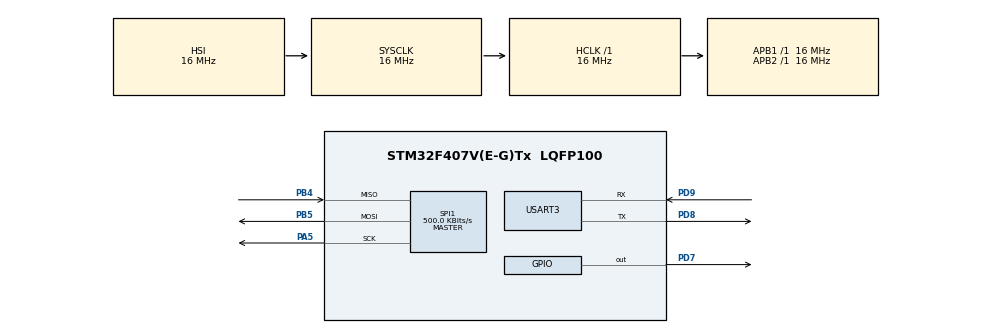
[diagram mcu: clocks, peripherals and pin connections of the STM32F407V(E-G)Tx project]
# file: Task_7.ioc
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Mcu.Family=STM32F4
Mcu.Name=STM32F407V(E-G)Tx
Mcu.Package=LQFP100
NVIC.PriorityGroup=NVIC_PRIORITYGROUP_4
NVIC.TIM3_IRQn=true\:0\:0\:false\:false\:true\:true\:true
PA5.Mode=Full_Duplex_Master
PA5.Signal=SPI1_SCK
PB4.Mode=Full_Duplex_Master
PB4.Signal=SPI1_MISO
PB5.Mode=Full_Duplex_Master
PB5.Signal=SPI1_MOSI
PD7.Signal=GPIO_Output
PD8.Mode=Asynchronous
PD8.Signal=USART3_TX
PD9.Mode=Asynchronous
PD9.Signal=USART3_RX
ProjectManager.HeapSize=0x200
ProjectManager.StackSize=0x400
ProjectManager.TargetToolchain=STM32CubeIDE
RCC.AHBFreq_Value=16000000
RCC.APB1Freq_Value=16000000
RCC.APB2Freq_Value=16000000
RCC.CortexFreq_Value=16000000
RCC.HSE_VALUE=25000000
RCC.HSI_VALUE=16000000
RCC.LSE_VALUE=32768
RCC.SYSCLKFreq_VALUE=16000000
RCC.VCOOutputFreq_Value=192000000
SPI1.BaudRatePrescaler=SPI_BAUDRATEPRESCALER_32
SPI1.CalculateBaudRate=500.0 KBits/s
SPI1.Direction=SPI_DIRECTION_2LINES
SPI1.Mode=SPI_MODE_MASTER
SPI1.VirtualType=VM_MASTER
TIM3.AutoReloadPreload=TIM_AUTORELOAD_PRELOAD_ENABLE
TIM3.Period=200
TIM3.Prescaler=16000
USART3.VirtualMode=VM_ASYNC
VP_TIM3_VS_ClockSourceINT.Mode=Internal
board=custom

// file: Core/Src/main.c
/* USER CODE BEGIN Header */
/**
  ******************************************************************************
  * @file           : main.c
  * @brief          : Main program body
  ******************************************************************************
  * @attention
  *
  * <h2><center>&copy; Copyright (c) 2021 STMicroelectronics.
  * All rights reserved.</center></h2>
  *
  * This software component is licensed by ST under BSD 3-Clause license,
  * the "License"; You may not use this file except in compliance with the
  * License. You may obtain a copy of the License at:
  *                        opensource.org/licenses/BSD-3-Clause
  *
  ******************************************************************************
  */
/* USER CODE END Header */
#include "main.h"

/* USER CODE BEGIN Includes */
#include <string.h>
#include <stdio.h>

/* USER CODE END Includes */

/* USER CODE BEGIN PTD */
typedef enum chipState
{
	CS_ON,
	CS_OFF

} chipState;

/* USER CODE END PTD */

/* USER CODE BEGIN PD */
#define CS_PIN 	 GPIOD, GPIO_PIN_7
#define SST25_PageSize 256

#define WRITE    0x02  /* Write one data byte to Memory instruction */
#define WREN 	 0x06  /* Write enable instruction */
#define WRDI	 0x04  /* Write disable instruction */
#define RDSR	 0x05  /* Read Status Register instruction  */
#define READ     0x03  /* 25Mhz Read from Memory instruction */
#define HREAD    0x0B  /* 50Mhz Read from Memory instruction */
#define WRSR     0x01  /* Write Status Register instruction */
#define CHER     0x60  /* Bulk Erase instruction */
#define EWSR	 0x50  /* Enable write status register */
#define D_BYTE   0xFF  /* Dummy byte */
#define EBSY	 0x70
#define DBSY	 0x80
#define AAI	 	 0xAD

#define MIN_ADDR 0x000000
#define MAX_ADDR 0x1FFFFF
#define SEC_INC  0x1000 /* 4096Bytes Sector increment   */
#define BUSY_BIT 0x01

#define STR_NUM  16
#define STR_LEN  96

/* USER CODE END PD */

SPI_HandleTypeDef hspi1;

TIM_HandleTypeDef htim3;

UART_HandleTypeDef huart3;

/* USER CODE BEGIN PV */
char rcvCommand = 0;
static uint8_t trnsmtBuf[2];
static uint8_t rcvBuf[2];

/* USER CODE END PV */

void SystemClock_Config(void);
static void MX_GPIO_Init(void);
static void MX_SPI1_Init(void);
static void MX_TIM3_Init(void);
static void MX_USART3_UART_Init(void);
/* USER CODE BEGIN PFP */
static void SST25Init(void);
static void SST25CSToggle(chipState state);
static void SST25RegSwitch(uint8_t trnsmtBuf);
static uint8_t SST25GetRdStatus(void);
static void SST25RdBuffer(uint32_t addr, uint8_t *buf, uint32_t nByte );
static void SST25WrBuffer(uint32_t dst, uint8_t *data, uint32_t nByte);
static void SST25WrPage(uint32_t dst, uint8_t *data, uint32_t nByte);
static void SST25WrStatusReg(void);
static void SST25EraseAll(void);

static void transmitUartMessage(char terminalMessage[128]);
static void receiveInfo(void);
static void writeText(void);
static void readText(void);
/* USER CODE END PFP */

/* USER CODE BEGIN 0 */

void HAL_TIM_PeriodElapsedCallback(TIM_HandleTypeDef *htim)
{
	if (htim == &htim3 )
	{
		HAL_StatusTypeDef result = HAL_UART_Receive(&huart3, (uint8_t*)&rcvCommand, 1, 10);

		if (result == HAL_OK)
		{
			receiveInfo();
			switch (rcvCommand)
			{
			case '1':
				readText();
				break;
			case '2':
				writeText();
				break;
			case '3':
				SST25EraseAll();
				break;
			default:
				HAL_UART_Transmit(&huart3, (uint8_t*) "Unrecognized key\r\n", 15 + 2, 10);
				break;
			}
		}
	}
}

static void transmitUartMessage(char terminalMessage[128])
{
	HAL_UART_Transmit(&huart3, (uint8_t*) terminalMessage,  strlen(terminalMessage), 10);
}

static void receiveInfo(void)
{
	uint8_t  eraseScreenArr[4] ={ 0x1B, 0x5B, 0x32, 0x4A };
	HAL_UART_Transmit(&huart3, (uint8_t*) &eraseScreenArr, 4, 10);

	transmitUartMessage("Read SST25VF016 SPI Flash Memory: 1 | Write text to SST25VF016 SPI Flash Memory: 2 | Erase SST25VF016 SPI Flash Memory: 3\r\n");
}

static void SST25Init(void)
{
	/* CS = HIGH */
	SST25CSToggle(CS_OFF);
	SST25WrStatusReg();
}

static void SST25CSToggle(chipState state)
{
	if(state == CS_ON)
		HAL_GPIO_WritePin(CS_PIN, GPIO_PIN_RESET);
	else if (state == CS_OFF)
		HAL_GPIO_WritePin(CS_PIN, GPIO_PIN_SET);
}

static void SST25RegSwitch(uint8_t trnsmtBuf)
{
	SST25CSToggle(CS_ON);
	HAL_SPI_Transmit(&hspi1, (uint8_t *) &trnsmtBuf, sizeof(trnsmtBuf), 100);
	SST25CSToggle(CS_OFF);
}

static uint8_t SST25GetRdStatus(void)
{
	trnsmtBuf[0] = RDSR;
	trnsmtBuf[1] = 0x00;

	SST25CSToggle(CS_ON);
	HAL_SPI_TransmitReceive(&hspi1, trnsmtBuf, rcvBuf, sizeof(rcvBuf), 100);
	SST25CSToggle(CS_OFF);

	return  rcvBuf[1];
}

static void SST25WrStatusReg(void)
{
	/* Disable write protection */
	trnsmtBuf[0] = WRSR;
	trnsmtBuf[1] = 0x00;

	SST25RegSwitch(EWSR);

	SST25CSToggle(CS_ON);
	HAL_SPI_Transmit(&hspi1, trnsmtBuf, sizeof(trnsmtBuf), 100);
	SST25CSToggle(CS_OFF);
}

static void SST25EraseAll(void)
{
	uint8_t cmdBuf = CHER;

	SST25WrStatusReg();
	SST25RegSwitch(WREN);
	SST25CSToggle(CS_ON);
	HAL_SPI_Transmit(&hspi1, (uint8_t*) &cmdBuf, sizeof(cmdBuf), 100);
	SST25CSToggle(CS_OFF);

	while(SST25GetRdStatus() & BUSY_BIT);
	SST25RegSwitch(WRDI);
}

static void SST25RdBuffer(uint32_t addr, uint8_t *buf, uint32_t nByte)
{
	if (addr + nByte > MAX_ADDR)
		return;

	uint8_t tmpBuf[nByte];
	uint8_t trnsmtRdBuf[] = { HREAD, ((addr  & 0xFF0000) >> 16), ((addr  & 0xFF00) >> 8), addr & 0xFF, D_BYTE };

	SST25CSToggle(CS_ON);
	HAL_SPI_Transmit(&hspi1, trnsmtRdBuf, sizeof(trnsmtRdBuf), 100);
	HAL_SPI_Receive(&hspi1, tmpBuf, sizeof(tmpBuf) , 100 );
	for (uint8_t i = 1; i < nByte; i++)
		buf[i] = 0;
	for ( uint32_t i = 1; tmpBuf[i] != 0xFF; i++ )
		buf[i] = tmpBuf[i];
	SST25CSToggle(CS_OFF);
}

static void SST25WrPage(uint32_t dst, uint8_t *data, uint32_t nByte)
{
	if (dst + nByte - 1 > MAX_ADDR || nByte > SST25_PageSize )
			return;

	SST25WrStatusReg();

	uint8_t *trnsmtBufPt;
	trnsmtBufPt = data;

	SST25RegSwitch(EBSY);
	SST25RegSwitch(WREN);

	SST25CSToggle(CS_ON);
	/* Transmit address and first two bytes of data */
	uint8_t trnsmtPgBuf[] = { AAI, ((dst  & 0xFF0000) >> 16), ((dst  & 0xFF00) >> 8), (dst & 0xFF), D_BYTE, *data,*data++ };
	HAL_SPI_Transmit(&hspi1, trnsmtPgBuf, sizeof(trnsmtPgBuf), 100);

	while(data < trnsmtBufPt + nByte)
	{
		/* Check for flash busy status */
		SST25CSToggle(CS_OFF);
		SST25CSToggle(CS_ON);
		while (!HAL_GPIO_ReadPin(GPIOB, GPIO_PIN_4));
		/* Transmit data using AAI */
		uint8_t trnsmtPgBuf[] = { AAI, *data++, *data++ };
		HAL_SPI_Transmit(&hspi1, trnsmtPgBuf, sizeof(trnsmtPgBuf), 100);
	}
	SST25CSToggle(CS_OFF);
	while (!HAL_GPIO_ReadPin(GPIOB, GPIO_PIN_4));

	SST25RegSwitch(WRDI);
	SST25RegSwitch(DBSY);
}

static void SST25WrBuffer(uint32_t dst, uint8_t *data, uint32_t nByte)
{
	if (dst + nByte - 1 > MAX_ADDR)
			return;

	SST25WrStatusReg();
	uint8_t *trnsmtBufPt = (uint8_t *)data;

	for ( uint32_t i = 0; i < nByte; i++ )
	{
		SST25RegSwitch(WREN);

		SST25CSToggle(CS_ON);
		uint8_t trnsmtWrBuf[] = { WRITE, (((dst + i) & 0xFF0000) >> 16), (((dst + i) & 0xFF00) >> 8), ((dst + i) & 0xFF), D_BYTE, trnsmtBufPt[i] };
		HAL_SPI_Transmit(&hspi1, trnsmtWrBuf, sizeof(trnsmtWrBuf), 100);
		SST25CSToggle(CS_OFF);

		while(SST25GetRdStatus() & BUSY_BIT);
	}
	SST25RegSwitch(WRDI);
}

static void writeText(void)
{
	SST25EraseAll();
	uint32_t addr = MIN_ADDR;

	char capsuleText [STR_NUM][STR_LEN] =
	{
			"From: Andrii Yanchynskyi, andrii.yanchynskyi@gmail.com\r\n",
			"Mentor: Denys Kondratenko, denys.kondratenko@globallogic.com\r\n",
			"Date: 24.11.2021\r\n",
			"TIME CAPSULE\r\n",
			"System Of A Down - Aerials\r\n",
			"Life is a waterfall\r\n",
			"We're one in the river\r\n",
			"And one again after the fall\r\n",
			"Swimming through the void, we hear the word\r\n",
			"We lose ourselves, but we find it all\r\n",
			"Cause we are the ones that want to play\r\n",
			"Always want to go, but you never want to stay\r\n",
			"And we are the ones that want to choose\r\n",
			"Always want to play but you never want to lose\r\n",
			"Aerials in the sky\r\n",
			"When you lose small mind, you free your life\r\n",
	};

	for (uint8_t i = 0; i < STR_NUM || addr > MAX_ADDR; i++, addr += SEC_INC)
	{
		char tmpStr[] = {};
		strcpy(tmpStr, &capsuleText[i][0]);
		SST25WrPage(addr, (uint8_t*) tmpStr, strlen(tmpStr));
	}
}

static void readText(void)
{
	uint32_t  addr = MIN_ADDR;
	char tmpRdStr[STR_LEN];

  	for (uint8_t i = 0; i < STR_NUM || addr > MAX_ADDR; i++, addr += SEC_INC)
  	{
  		SST25RdBuffer(addr, (uint8_t *) tmpRdStr, STR_LEN);
  		transmitUartMessage(tmpRdStr);
  	}
}

/* USER CODE END 0 */

int main(void)
{

  /* MCU Configuration--------------------------------------------------------*/

  /* Reset of all peripherals, Initializes the Flash interface and the Systick. */
  HAL_Init();

  /* Configure the system clock */
  SystemClock_Config();

  /* Initialize all configured peripherals */
  MX_GPIO_Init();
  MX_SPI1_Init();
  MX_TIM3_Init();
  MX_USART3_UART_Init();
  HAL_TIM_Base_Start_IT(&htim3);
  /* USER CODE BEGIN 2 */
  SST25Init();
  receiveInfo();

  /* USER CODE END 2 */

  /* Infinite loop */
  while (1)
  {

  }
}

void SystemClock_Config(void)
{
  RCC_OscInitTypeDef RCC_OscInitStruct = {0};
  RCC_ClkInitTypeDef RCC_ClkInitStruct = {0};

  /** Configure the main internal regulator output voltage
  */
  __HAL_RCC_PWR_CLK_ENABLE();
  __HAL_PWR_VOLTAGESCALING_CONFIG(PWR_REGULATOR_VOLTAGE_SCALE1);
  /** Initializes the RCC Oscillators according to the specified parameters
  * in the RCC_OscInitTypeDef structure.
  */
  RCC_OscInitStruct.OscillatorType = RCC_OSCILLATORTYPE_HSI;
  RCC_OscInitStruct.HSIState = RCC_HSI_ON;
  RCC_OscInitStruct.HSICalibrationValue = RCC_HSICALIBRATION_DEFAULT;
  RCC_OscInitStruct.PLL.PLLState = RCC_PLL_NONE;
  if (HAL_RCC_OscConfig(&RCC_OscInitStruct) != HAL_OK)
  {
    Error_Handler();
  }
  /** Initializes the CPU, AHB and APB buses clocks
  */
  RCC_ClkInitStruct.ClockType = RCC_CLOCKTYPE_HCLK|RCC_CLOCKTYPE_SYSCLK
                              |RCC_CLOCKTYPE_PCLK1|RCC_CLOCKTYPE_PCLK2;
  RCC_ClkInitStruct.SYSCLKSource = RCC_SYSCLKSOURCE_HSI;
  RCC_ClkInitStruct.AHBCLKDivider = RCC_SYSCLK_DIV1;
  RCC_ClkInitStruct.APB1CLKDivider = RCC_HCLK_DIV1;
  RCC_ClkInitStruct.APB2CLKDivider = RCC_HCLK_DIV1;

  if (HAL_RCC_ClockConfig(&RCC_ClkInitStruct, FLASH_LATENCY_0) != HAL_OK)
  {
    Error_Handler();
  }
}

static void MX_SPI1_Init(void)
{

  /* SPI1 parameter configuration*/
  hspi1.Instance = SPI1;
  hspi1.Init.Mode = SPI_MODE_MASTER;
  hspi1.Init.Direction = SPI_DIRECTION_2LINES;
  hspi1.Init.DataSize = SPI_DATASIZE_8BIT;
  hspi1.Init.CLKPolarity = SPI_POLARITY_LOW;
  hspi1.Init.CLKPhase = SPI_PHASE_1EDGE;
  hspi1.Init.NSS = SPI_NSS_SOFT;
  hspi1.Init.BaudRatePrescaler = SPI_BAUDRATEPRESCALER_32;
  hspi1.Init.FirstBit = SPI_FIRSTBIT_MSB;
  hspi1.Init.TIMode = SPI_TIMODE_DISABLE;
  hspi1.Init.CRCCalculation = SPI_CRCCALCULATION_DISABLE;
  hspi1.Init.CRCPolynomial = 10;
  if (HAL_SPI_Init(&hspi1) != HAL_OK)
  {
    Error_Handler();
  }

}

static void MX_TIM3_Init(void)
{

  TIM_ClockConfigTypeDef sClockSourceConfig = {0};
  TIM_MasterConfigTypeDef sMasterConfig = {0};

  htim3.Instance = TIM3;
  htim3.Init.Prescaler = 16000;
  htim3.Init.CounterMode = TIM_COUNTERMODE_UP;
  htim3.Init.Period = 200;
  htim3.Init.ClockDivision = TIM_CLOCKDIVISION_DIV1;
  htim3.Init.AutoReloadPreload = TIM_AUTORELOAD_PRELOAD_ENABLE;
  if (HAL_TIM_Base_Init(&htim3) != HAL_OK)
  {
    Error_Handler();
  }
  sClockSourceConfig.ClockSource = TIM_CLOCKSOURCE_INTERNAL;
  if (HAL_TIM_ConfigClockSource(&htim3, &sClockSourceConfig) != HAL_OK)
  {
    Error_Handler();
  }
  sMasterConfig.MasterOutputTrigger = TIM_TRGO_RESET;
  sMasterConfig.MasterSlaveMode = TIM_MASTERSLAVEMODE_DISABLE;
  if (HAL_TIMEx_MasterConfigSynchronization(&htim3, &sMasterConfig) != HAL_OK)
  {
    Error_Handler();
  }

}

static void MX_USART3_UART_Init(void)
{

  huart3.Instance = USART3;
  huart3.Init.BaudRate = 115200;
  huart3.Init.WordLength = UART_WORDLENGTH_8B;
  huart3.Init.StopBits = UART_STOPBITS_1;
  huart3.Init.Parity = UART_PARITY_NONE;
  huart3.Init.Mode = UART_MODE_TX_RX;
  huart3.Init.HwFlowCtl = UART_HWCONTROL_NONE;
  huart3.Init.OverSampling = UART_OVERSAMPLING_16;
  if (HAL_UART_Init(&huart3) != HAL_OK)
  {
    Error_Handler();
  }

}

static void MX_GPIO_Init(void)
{
  GPIO_InitTypeDef GPIO_InitStruct = {0};

  /* GPIO Ports Clock Enable */
  __HAL_RCC_GPIOA_CLK_ENABLE();
  __HAL_RCC_GPIOD_CLK_ENABLE();
  __HAL_RCC_GPIOB_CLK_ENABLE();

  /*Configure GPIO pin Output Level */
  HAL_GPIO_WritePin(GPIOD, GPIO_PIN_7, GPIO_PIN_RESET);

  /*Configure GPIO pin : PD7 */
  GPIO_InitStruct.Pin = GPIO_PIN_7;
  GPIO_InitStruct.Mode = GPIO_MODE_OUTPUT_PP;
  GPIO_InitStruct.Pull = GPIO_NOPULL;
  GPIO_InitStruct.Speed = GPIO_SPEED_FREQ_LOW;
  HAL_GPIO_Init(GPIOD, &GPIO_InitStruct);

}

void Error_Handler(void)
{
  __disable_irq();
  while (1)
  {
  }
}

/************************ (C) COPYRIGHT STMicroelectronics *****END OF FILE****/
